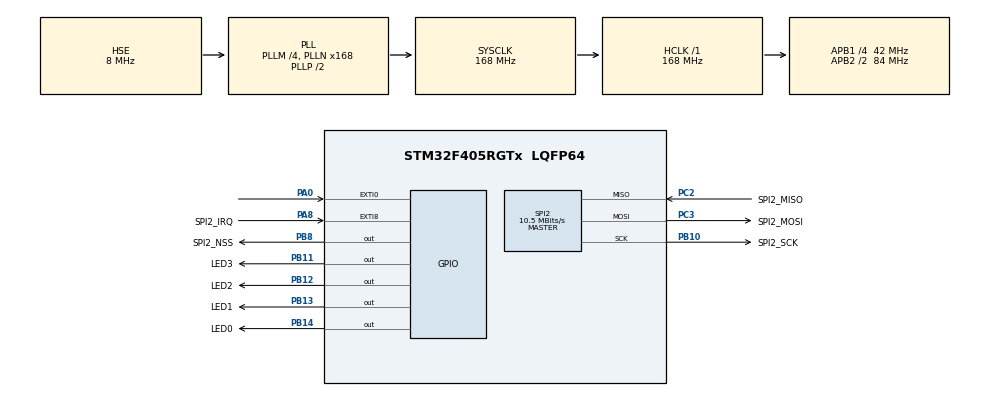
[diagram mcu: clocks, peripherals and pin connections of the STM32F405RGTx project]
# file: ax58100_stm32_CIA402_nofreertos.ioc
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Dma.Request0=SPI2_RX
Dma.Request1=SPI2_TX
Dma.SPI2_RX.0.Direction=DMA_PERIPH_TO_MEMORY
Dma.SPI2_RX.0.FIFOMode=DMA_FIFOMODE_DISABLE
Dma.SPI2_RX.0.Instance=DMA1_Stream3
Dma.SPI2_RX.0.MemDataAlignment=DMA_MDATAALIGN_BYTE
Dma.SPI2_RX.0.MemInc=DMA_MINC_ENABLE
Dma.SPI2_RX.0.Mode=DMA_NORMAL
Dma.SPI2_RX.0.PeriphDataAlignment=DMA_PDATAALIGN_BYTE
Dma.SPI2_RX.0.PeriphInc=DMA_PINC_DISABLE
Dma.SPI2_RX.0.Priority=DMA_PRIORITY_HIGH
Dma.SPI2_TX.1.Direction=DMA_MEMORY_TO_PERIPH
Dma.SPI2_TX.1.FIFOMode=DMA_FIFOMODE_DISABLE
Dma.SPI2_TX.1.Instance=DMA1_Stream4
Dma.SPI2_TX.1.MemDataAlignment=DMA_MDATAALIGN_BYTE
Dma.SPI2_TX.1.MemInc=DMA_MINC_ENABLE
Dma.SPI2_TX.1.Mode=DMA_NORMAL
Dma.SPI2_TX.1.PeriphDataAlignment=DMA_PDATAALIGN_BYTE
Dma.SPI2_TX.1.PeriphInc=DMA_PINC_DISABLE
Dma.SPI2_TX.1.Priority=DMA_PRIORITY_HIGH
Mcu.Family=STM32F4
Mcu.Name=STM32F405RGTx
Mcu.Package=LQFP64
NVIC.EXTI0_IRQn=true\:14\:0\:true\:false\:true\:true\:true\:true
NVIC.EXTI9_5_IRQn=true\:14\:0\:true\:false\:true\:true\:true\:true
NVIC.PriorityGroup=NVIC_PRIORITYGROUP_4
PA0-WKUP.Signal=GPXTI0
PA8.GPIO_Label=SPI2_IRQ
PA8.GPIO_ModeDefaultEXTI=GPIO_MODE_IT_FALLING
PA8.Signal=GPXTI8
PB10.GPIO_Label=SPI2_SCK
PB10.Mode=Full_Duplex_Master
PB10.Signal=SPI2_SCK
PB11.GPIO_Label=LED3
PB11.Signal=GPIO_Output
PB12.GPIO_Label=LED2
PB12.Signal=GPIO_Output
PB13.GPIO_Label=LED1
PB13.Signal=GPIO_Output
PB14.GPIO_Label=LED0
PB14.Signal=GPIO_Output
PB8.GPIO_Label=SPI2_NSS
PB8.Signal=GPIO_Output
PC2.GPIO_Label=SPI2_MISO
PC2.Mode=Full_Duplex_Master
PC2.Signal=SPI2_MISO
PC3.GPIO_Label=SPI2_MOSI
PC3.Mode=Full_Duplex_Master
PC3.Signal=SPI2_MOSI
PH0-OSC_IN.Mode=HSE-External-Oscillator
PH0-OSC_IN.Signal=RCC_OSC_IN
PH1-OSC_OUT.Mode=HSE-External-Oscillator
PH1-OSC_OUT.Signal=RCC_OSC_OUT
ProjectManager.HeapSize=0x200
ProjectManager.StackSize=0x400
ProjectManager.TargetToolchain=Makefile
RCC.48MHZClocksFreq_Value=48000000
RCC.AHBFreq_Value=168000000
RCC.APB1CLKDivider=RCC_HCLK_DIV4
RCC.APB1Freq_Value=42000000
RCC.APB1TimFreq_Value=84000000
RCC.APB2CLKDivider=RCC_HCLK_DIV2
RCC.APB2Freq_Value=84000000
RCC.APB2TimFreq_Value=168000000
RCC.CortexFreq_Value=168000000
RCC.HCLKFreq_Value=168000000
RCC.HSE_VALUE=8000000
RCC.HSI_VALUE=16000000
RCC.LSE_VALUE=32768
RCC.PLLM=4
RCC.PLLN=168
RCC.PLLQ=7
RCC.PLLSourceVirtual=RCC_PLLSOURCE_HSE
RCC.SYSCLKFreq_VALUE=168000000
RCC.SYSCLKSource=RCC_SYSCLKSOURCE_PLLCLK
RCC.VCOOutputFreq_Value=336000000
SPI2.BaudRatePrescaler=SPI_BAUDRATEPRESCALER_4
SPI2.CRCCalculation=SPI_CRCCALCULATION_ENABLE
SPI2.CRCPolynomial=X7
SPI2.CalculateBaudRate=10.5 MBits/s
SPI2.Direction=SPI_DIRECTION_2LINES
SPI2.Mode=SPI_MODE_MASTER
SPI2.VirtualType=VM_MASTER
board=custom

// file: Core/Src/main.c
/* USER CODE BEGIN Header */
/**
 ******************************************************************************
 * @file           : main.c
 * @brief          : Main program body
 ******************************************************************************
 * @attention
 *
 * Copyright (c) 2023 STMicroelectronics.
 * All rights reserved.
 *
 * This software is licensed under terms that can be found in the LICENSE file
 * in the root directory of this software component.
 * If no LICENSE file comes with this software, it is provided AS-IS.
 *
 ******************************************************************************
 */
/* USER CODE END Header */
#include "main.h"

/* USER CODE BEGIN Includes */

#include "esc.h"
#include "ecat_slv.h"
#include "ecatapp.h"

/* USER CODE END Includes */

SPI_HandleTypeDef hspi2;
DMA_HandleTypeDef hdma_spi2_rx;
DMA_HandleTypeDef hdma_spi2_tx;

void SystemClock_Config(void);
static void MX_GPIO_Init(void);
static void MX_DMA_Init(void);
static void MX_SPI2_Init(void);

/* USER CODE BEGIN 0 */
void ecatapp_loop(void)
{
  // stack in mixed mode
  if (sync0_irq_flag)
  {
    // HAL_GPIO_WritePin(LED0_GPIO_Port, LED2_Pin, GPIO_PIN_SET);
    // HAL_GPIO_WritePin(LED0_GPIO_Port, LED1_Pin, GPIO_PIN_RESET);
    // HAL_GPIO_WritePin(LED0_GPIO_Port, LED0_Pin, GPIO_PIN_RESET);
    ESC_updateALevent();
    DIG_process(DIG_PROCESS_APP_HOOK_FLAG | DIG_PROCESS_INPUTS_FLAG);
    sync0_irq_flag = 0;
  }
  if (pdi_irq_flag)
  {
    // HAL_GPIO_WritePin(LED0_GPIO_Port, LED2_Pin, GPIO_PIN_RESET);
    // HAL_GPIO_WritePin(LED0_GPIO_Port, LED1_Pin, GPIO_PIN_SET);
    // HAL_GPIO_WritePin(LED0_GPIO_Port, LED0_Pin, GPIO_PIN_RESET);
    ESC_updateALevent();
    if (ESCvar.dcsync)
    {
      DIG_process(DIG_PROCESS_OUTPUTS_FLAG);
    }
    else
    {
      DIG_process(DIG_PROCESS_OUTPUTS_FLAG | DIG_PROCESS_APP_HOOK_FLAG | DIG_PROCESS_INPUTS_FLAG);
    }
    pdi_irq_flag = 0;
  }
  else
  {
    // HAL_GPIO_WritePin(LED0_GPIO_Port, LED2_Pin, GPIO_PIN_RESET);
    // HAL_GPIO_WritePin(LED0_GPIO_Port, LED1_Pin, GPIO_PIN_RESET);
    // HAL_GPIO_WritePin(LED0_GPIO_Port, LED0_Pin, GPIO_PIN_SET);
    ecat_slv_poll();
    DIG_process(DIG_PROCESS_WD_FLAG);
  }
}
/* USER CODE END 0 */

int main(void)
{

  /* MCU Configuration--------------------------------------------------------*/

  /* Reset of all peripherals, Initializes the Flash interface and the Systick. */
  HAL_Init();

  /* Configure the system clock */
  SystemClock_Config();

  /* Initialize all configured peripherals */
  MX_GPIO_Init();
  MX_DMA_Init();
  MX_SPI2_Init();
  /* USER CODE BEGIN 2 */
  ecatapp_init();
  // HAL_GPIO_WritePin(LED0_GPIO_Port, LED0_Pin, GPIO_PIN_SET);
  /* USER CODE END 2 */

  /* Infinite loop */
  /* USER CODE BEGIN WHILE */
  int led = 0;
  while (1)
  {
    /* USER CODE END WHILE */
    if (led == 1)
    {
      HAL_GPIO_WritePin(LED0_GPIO_Port, LED0_Pin, GPIO_PIN_SET);
      led = 0;
    }
    else if (led == 0)
    {
      HAL_GPIO_WritePin(LED0_GPIO_Port, LED0_Pin, GPIO_PIN_RESET);
      led = 1;
    }

    /* USER CODE BEGIN 3 */
    ecatapp_loop();
  }
  /* USER CODE END 3 */
}

void SystemClock_Config(void)
{
  RCC_OscInitTypeDef RCC_OscInitStruct = {0};
  RCC_ClkInitTypeDef RCC_ClkInitStruct = {0};

  /** Configure the main internal regulator output voltage
   */
  __HAL_RCC_PWR_CLK_ENABLE();
  __HAL_PWR_VOLTAGESCALING_CONFIG(PWR_REGULATOR_VOLTAGE_SCALE1);

  /** Initializes the RCC Oscillators according to the specified parameters
   * in the RCC_OscInitTypeDef structure.
   */
  RCC_OscInitStruct.OscillatorType = RCC_OSCILLATORTYPE_HSE;
  RCC_OscInitStruct.HSEState = RCC_HSE_ON;
  RCC_OscInitStruct.PLL.PLLState = RCC_PLL_ON;
  RCC_OscInitStruct.PLL.PLLSource = RCC_PLLSOURCE_HSE;
  RCC_OscInitStruct.PLL.PLLM = 4;
  RCC_OscInitStruct.PLL.PLLN = 168;
  RCC_OscInitStruct.PLL.PLLP = RCC_PLLP_DIV2;
  RCC_OscInitStruct.PLL.PLLQ = 7;
  if (HAL_RCC_OscConfig(&RCC_OscInitStruct) != HAL_OK)
  {
    Error_Handler();
  }

  /** Initializes the CPU, AHB and APB buses clocks
   */
  RCC_ClkInitStruct.ClockType = RCC_CLOCKTYPE_HCLK | RCC_CLOCKTYPE_SYSCLK | RCC_CLOCKTYPE_PCLK1 | RCC_CLOCKTYPE_PCLK2;
  RCC_ClkInitStruct.SYSCLKSource = RCC_SYSCLKSOURCE_PLLCLK;
  RCC_ClkInitStruct.AHBCLKDivider = RCC_SYSCLK_DIV1;
  RCC_ClkInitStruct.APB1CLKDivider = RCC_HCLK_DIV4;
  RCC_ClkInitStruct.APB2CLKDivider = RCC_HCLK_DIV2;

  if (HAL_RCC_ClockConfig(&RCC_ClkInitStruct, FLASH_LATENCY_5) != HAL_OK)
  {
    Error_Handler();
  }
}

static void MX_SPI2_Init(void)
{

  /* SPI2 parameter configuration*/
  hspi2.Instance = SPI2;
  hspi2.Init.Mode = SPI_MODE_MASTER;
  hspi2.Init.Direction = SPI_DIRECTION_2LINES;
  hspi2.Init.DataSize = SPI_DATASIZE_8BIT;
  hspi2.Init.CLKPolarity = SPI_POLARITY_LOW;
  hspi2.Init.CLKPhase = SPI_PHASE_1EDGE;
  hspi2.Init.NSS = SPI_NSS_SOFT;
  hspi2.Init.BaudRatePrescaler = SPI_BAUDRATEPRESCALER_4;
  hspi2.Init.FirstBit = SPI_FIRSTBIT_MSB;
  hspi2.Init.TIMode = SPI_TIMODE_DISABLE;
  hspi2.Init.CRCCalculation = SPI_CRCCALCULATION_ENABLE;
  hspi2.Init.CRCPolynomial = 128;
  if (HAL_SPI_Init(&hspi2) != HAL_OK)
  {
    Error_Handler();
  }
}

static void MX_DMA_Init(void)
{

  /* DMA controller clock enable */
  __HAL_RCC_DMA1_CLK_ENABLE();
}

static void MX_GPIO_Init(void)
{
  GPIO_InitTypeDef GPIO_InitStruct = {0};

  /* GPIO Ports Clock Enable */
  __HAL_RCC_GPIOH_CLK_ENABLE();
  __HAL_RCC_GPIOC_CLK_ENABLE();
  __HAL_RCC_GPIOA_CLK_ENABLE();
  __HAL_RCC_GPIOB_CLK_ENABLE();

  /*Configure GPIO pin Output Level */
  HAL_GPIO_WritePin(GPIOB, LED3_Pin | LED2_Pin | LED1_Pin | LED0_Pin | SPI2_NSS_Pin, GPIO_PIN_RESET);

  /*Configure GPIO pin : PA0 */
  GPIO_InitStruct.Pin = GPIO_PIN_0;
  GPIO_InitStruct.Mode = GPIO_MODE_IT_RISING;
  GPIO_InitStruct.Pull = GPIO_NOPULL;
  HAL_GPIO_Init(GPIOA, &GPIO_InitStruct);

  /*Configure GPIO pins : LED3_Pin LED2_Pin LED1_Pin LED0_Pin
                           SPI2_NSS_Pin */
  GPIO_InitStruct.Pin = LED3_Pin | LED2_Pin | LED1_Pin | LED0_Pin | SPI2_NSS_Pin;
  GPIO_InitStruct.Mode = GPIO_MODE_OUTPUT_PP;
  GPIO_InitStruct.Pull = GPIO_NOPULL;
  GPIO_InitStruct.Speed = GPIO_SPEED_FREQ_LOW;
  HAL_GPIO_Init(GPIOB, &GPIO_InitStruct);

  /*Configure GPIO pin : SPI2_IRQ_Pin */
  GPIO_InitStruct.Pin = SPI2_IRQ_Pin;
  GPIO_InitStruct.Mode = GPIO_MODE_IT_FALLING;
  GPIO_InitStruct.Pull = GPIO_NOPULL;
  HAL_GPIO_Init(SPI2_IRQ_GPIO_Port, &GPIO_InitStruct);

  /* EXTI interrupt init*/
  HAL_NVIC_SetPriority(EXTI0_IRQn, 14, 0);
  HAL_NVIC_EnableIRQ(EXTI0_IRQn);

  HAL_NVIC_SetPriority(EXTI9_5_IRQn, 14, 0);
  HAL_NVIC_EnableIRQ(EXTI9_5_IRQn);

}

void Error_Handler(void)
{
  __disable_irq();
  while (1)
  {
  }
}
